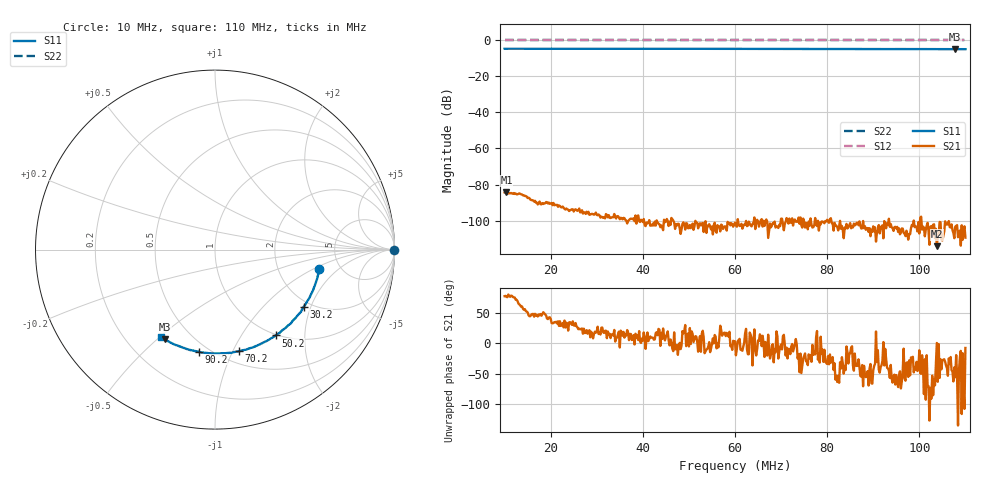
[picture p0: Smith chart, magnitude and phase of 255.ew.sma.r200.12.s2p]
! Anritsu VNA Master:  Model: MS2036C/10/77
! SN:  1601066
! /card0/usr/255.ew.sma.r200.12.s2p
! Existing Calibration Information:
! TYPE:  Current Settings,  Active Cal Settings
! TIME:  12/19/2017 06:14:04 PM,  12/19/2017 06:04:41 PM
! INTERNAL TEMP:  40.8 C,  39.8 C
! # POINTS:  501,  501
! START FREQ:  10.000 MHz,  10.000 MHz
! STOP FREQ:  110.000 MHz,  110.000 MHz
! SOURCE POWER:  High,  High
! IFBW:  100 Hz,  100 Hz
! AVG FACTOR:  1 ,  1
! REF PLANE 1:  0 mm,  0 mm
! REF PLANE 2:  0 mm,  0 mm
! CAL TYPE:  Full S11,  Full S11
! CAL METHOD:  SOLT,  SOLT
! CAL LINE TYPE:  Coax,  Coax
! DUT PORT 1:  N-Conn(F),  N-Conn(F)
! DUT PORT 2:  K-Conn(F),  K-Conn(F)
! CAL STATUS:  OK: Accuracy High,  --
# GHZ S DB R 50.0
! FREQ.GHZ  S11DB  S11A  S21DB  S21A  S12DB  S12A  S22DB  S22A
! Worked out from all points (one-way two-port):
!   501 points, 10 MHz to 110 MHz, reference 50 ohm
!   highest |S21| = -84.31 dB at 10.4 MHz (marker M1); lowest = -114.2 dB at 103.8 MHz (marker M2)
!   lowest |S11| = -4.8 dB at 107.8 MHz (marker M3), VSWR 3.68, Z = 17.8 - j26.6 ohm
!   |S11| at or under -10 dB: nowhere
!   |S22| runs from 0.0 to 0.0 dB; largest |S21 - S12| = 1
!   S11 on the Smith chart (normalised r, x): 10 MHz: 3.46, -1.17; 30.2 MHz: 1.83, -1.78; 50.2 MHz: 0.98, -1.43; 70.2 MHz: 0.62, -1.06; 90.2 MHz: 0.44, -0.75; 110 MHz: 0.35, -0.51
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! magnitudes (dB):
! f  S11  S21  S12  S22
! 10 MHz  -4.6  -84.4  0.0  0.0
! 10.4 MHz  -4.6  -84.3  0.0  0.0
! 26.8 MHz  -4.6  -94.3  0.0  0.0
! 30.2 MHz  -4.6  -97.0  0.0  0.0
! 33 MHz  -4.6  -98.6  0.0  0.0
! 38.6 MHz  -4.6  -101.7  0.0  0.0
! 40.4 MHz  -4.6  -102.6  0.0  0.0
! 43.4 MHz  -4.6  -101.7  0.0  0.0
! 46 MHz  -4.7  -102.5  0.0  0.0
! 47.6 MHz  -4.6  -101.8  0.0  0.0
! 50.2 MHz  -4.7  -102.5  0.0  0.0
! 60 MHz  -4.7  -101.2  0.0  0.0
! 70.2 MHz  -4.7  -99.0  0.0  0.0
! 76.8 MHz  -4.7  -103.9  0.0  0.0
! 88.6 MHz  -4.8  -104.5  0.0  0.0
! 90.2 MHz  -4.8  -106.1  0.0  0.0
! 93.4 MHz  -4.8  -99.0  0.0  0.0
! 95.8 MHz  -4.8  -107.7  0.0  0.0
! 100 MHz  -4.8  -107.2  0.0  0.0
! 103.8 MHz  -4.8  -114.2  0.0  0.0
! 107.8 MHz  -4.8  -103.4  0.0  0.0
! 110 MHz  -4.8  -109.5  0.0  0.0
